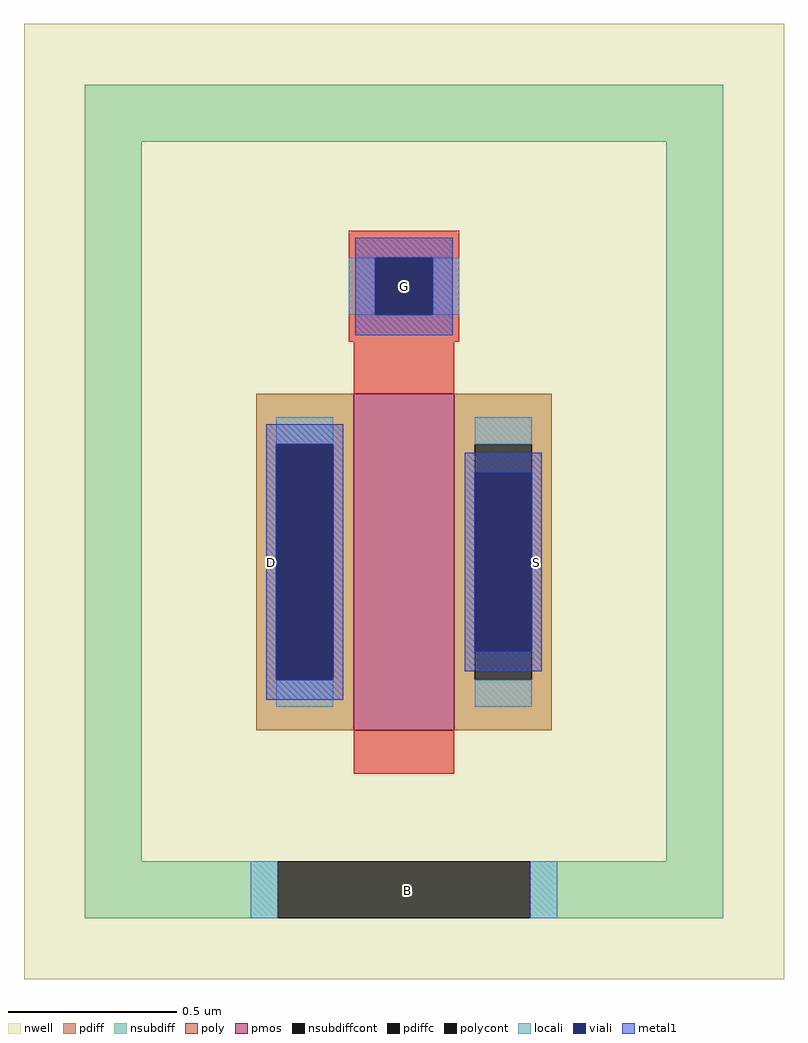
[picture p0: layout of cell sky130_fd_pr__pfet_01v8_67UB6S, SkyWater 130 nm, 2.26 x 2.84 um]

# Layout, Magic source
magic
tech sky130B
magscale 1 2
<< nwell >>
rect -226 -284 226 284
<< pmos >>
rect -30 -136 30 64
<< pdiff >>
rect -88 34 -30 64
rect -88 -106 -76 34
rect -42 -106 -30 34
rect -88 -136 -30 -106
rect 30 34 88 64
rect 30 -106 42 34
rect 76 -106 88 34
rect 30 -136 88 -106
<< pdiffc >>
rect -76 -106 -42 34
rect 42 -106 76 34
<< nsubdiff >>
rect -190 214 190 248
rect -190 -214 -156 214
rect 156 -214 190 214
rect -190 -248 -75 -214
rect 75 -248 190 -214
<< nsubdiffcont >>
rect -75 -248 75 -214
<< poly >>
rect -33 145 33 161
rect -33 111 -17 145
rect 17 111 33 145
rect -33 95 33 111
rect -30 64 30 95
rect -30 -162 30 -136
<< polycont >>
rect -17 111 17 145
<< locali >>
rect -33 111 -17 145
rect 17 111 33 145
rect -76 34 -42 50
rect -76 -122 -42 -106
rect 42 34 76 50
rect 42 -122 76 -106
rect -91 -248 -75 -214
rect 75 -248 91 -214
<< viali >>
rect -17 111 17 145
rect -76 -106 -42 34
rect 42 -89 76 17
<< metal1 >>
rect -29 145 29 157
rect -29 111 -17 145
rect 17 111 29 145
rect -29 99 29 111
rect -82 34 -36 46
rect -82 -106 -76 34
rect -42 -106 -36 34
rect 36 17 82 29
rect 36 -89 42 17
rect 76 -89 82 17
rect 36 -101 82 -89
rect -82 -118 -36 -106
<< labels >>
flabel metal1 -29 99 29 157 0 FreeSans 480 0 0 0 G
port 2 nsew
flabel metal1 -82 -118 -76 46 0 FreeSans 480 0 0 0 D
port 0 nsew
flabel metal1 76 -101 82 29 0 FreeSans 480 0 0 0 S
port 1 nsew
flabel locali 2 -232 2 -231 0 FreeSans 480 0 0 0 B
port 3 nsew
<< properties >>
string FIXED_BBOX -173 -231 173 231
string gencell sky130_fd_pr__pfet_01v8
string library sky130
string parameters w 1 l 0.3 m 1 nf 1 diffcov 80 polycov 80 guard 1 glc 0 grc 0 gtc 0 gbc 1 tbcov 80 rlcov 80 topc 1 botc 0 poverlap 0 doverlap 0 lmin 0.15 wmin 0.42 compatible {sky130_fd_pr__pfet_01v8  sky130_fd_pr__pfet_01v8_lvt sky130_fd_pr__pfet_01v8_hvt  sky130_fd_pr__pfet_g5v0d10v5} full_metal 0 viasrc 60 viadrn 80 viagate 80 viagb 0 viagr 0 viagl 0 viagt 0
<< end >>
